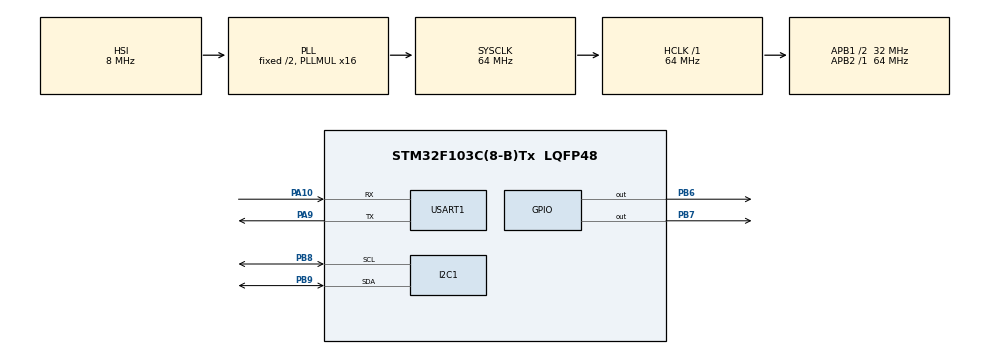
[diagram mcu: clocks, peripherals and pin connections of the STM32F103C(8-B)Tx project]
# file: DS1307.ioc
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Mcu.Family=STM32F1
Mcu.Name=STM32F103C(8-B)Tx
Mcu.Package=LQFP48
NVIC.PriorityGroup=NVIC_PRIORITYGROUP_4
PA10.Mode=Asynchronous
PA10.Signal=USART1_RX
PA13.Mode=Serial_Wire
PA13.Signal=SYS_JTMS-SWDIO
PA14.Mode=Serial_Wire
PA14.Signal=SYS_JTCK-SWCLK
PA9.Mode=Asynchronous
PA9.Signal=USART1_TX
PB6.Signal=GPIO_Output
PB7.Signal=GPIO_Output
PB8.Mode=I2C
PB8.Signal=I2C1_SCL
PB9.Mode=I2C
PB9.Signal=I2C1_SDA
ProjectManager.HeapSize=0x200
ProjectManager.StackSize=0x400
ProjectManager.TargetToolchain=MDK-ARM V5.32
RCC.AHBFreq_Value=64000000
RCC.APB1CLKDivider=RCC_HCLK_DIV2
RCC.APB1Freq_Value=32000000
RCC.APB1TimFreq_Value=64000000
RCC.APB2Freq_Value=64000000
RCC.APB2TimFreq_Value=64000000
RCC.HCLKFreq_Value=64000000
RCC.PLLMUL=RCC_PLL_MUL16
RCC.SYSCLKFreq_VALUE=64000000
RCC.SYSCLKSource=RCC_SYSCLKSOURCE_PLLCLK
RCC.USBFreq_Value=64000000
USART1.VirtualMode=VM_ASYNC
board=custom

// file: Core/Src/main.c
/* USER CODE BEGIN Header */
/**
  ******************************************************************************
  * @file           : main.c
  * @brief          : Main program body
  ******************************************************************************
  * @attention
  *
  * <h2><center>&copy; Copyright (c) 2022 STMicroelectronics.
  * All rights reserved.</center></h2>
  *
  * This software component is licensed by ST under BSD 3-Clause license,
  * the "License"; You may not use this file except in compliance with the
  * License. You may obtain a copy of the License at:
  *                        opensource.org/licenses/BSD-3-Clause
  *
  ******************************************************************************
  */
/* USER CODE END Header */
#include "main.h"

/* USER CODE BEGIN PTD */
#define DS1307_I2C_ADDR 0x68
#define DS1307_REG_SECOND 0x00
#define DS1307_REG_MINUTE 0x01
#define DS1307_REG_HOUR 0x02
#define DS1307_REG_DOW 0x03
#define DS1307_REG_DATE 0x04
#define DS1307_REG_MONTH 0x05
#define DS1307_REG_YEAR 0x06
#define DS1307_REG_CONTROL 0x07
#define DS1307_REG_UTC_HR 0x08
#define DS1307_REG_UTC_MIN 0x09
#define DS1307_REG_CENT 0x10
#define DS1307_TIMEOUT 1000
typedef struct {
    uint8_t sec;
    uint8_t min;
    uint8_t hour;
    uint8_t dow;
    uint8_t date;
    uint8_t month;
    uint16_t year;
}DS1307_STRUCT;
DS1307_STRUCT ds1307;
/* USER CODE END PTD */

I2C_HandleTypeDef hi2c1;

UART_HandleTypeDef huart1;

void SystemClock_Config(void);
static void MX_GPIO_Init(void);
static void MX_I2C1_Init(void);
static void MX_USART1_UART_Init(void);
/* USER CODE BEGIN PFP */
uint8_t DS1307_DecodeBCD(uint8_t bin);
uint8_t DS1307_EncodeBCD(uint8_t dec);
void DS1307_SetClockHalt(uint8_t halt);
void DS1307_SetRegByte(uint8_t regAddr, uint8_t val);
void DS1307_SetTimeZone(int8_t hr, uint8_t min);
uint8_t DS1307_GetClockHalt(void);
uint8_t DS1307_GetRegByte(uint8_t regAddr);
void DS1307_config();
void DS1307_gettime();
void DS1307_settime(uint8_t sec,uint8_t min,uint8_t hour_24mode,uint8_t dayOfWeek,uint8_t date,uint8_t month, uint16_t year);
/* USER CODE END PFP */

int main(void)
{

  /* MCU Configuration--------------------------------------------------------*/

  /* Reset of all peripherals, Initializes the Flash interface and the Systick. */
  HAL_Init();

  /* Configure the system clock */
  SystemClock_Config();

  /* Initialize all configured peripherals */
  MX_GPIO_Init();
  MX_I2C1_Init();
  MX_USART1_UART_Init();
  /* USER CODE BEGIN 2 */
  DS1307_config();
  DS1307_settime(10,50,8,3,19,7,22);
  /* USER CODE END 2 */

  /* Infinite loop */
  /* USER CODE BEGIN WHILE */
  while (1)
  {
	  DS1307_gettime();
	  HAL_GPIO_TogglePin(GPIOB,GPIO_PIN_7);
//	  HAL_UART_Transmit(&huart1,&ds1307.sec,sizeof(ds1307.sec),100);
      HAL_Delay(1000);
    /* USER CODE END WHILE */

  }
}

void SystemClock_Config(void)
{
  RCC_OscInitTypeDef RCC_OscInitStruct = {0};
  RCC_ClkInitTypeDef RCC_ClkInitStruct = {0};

  /** Initializes the RCC Oscillators according to the specified parameters
  * in the RCC_OscInitTypeDef structure.
  */
  RCC_OscInitStruct.OscillatorType = RCC_OSCILLATORTYPE_HSI;
  RCC_OscInitStruct.HSIState = RCC_HSI_ON;
  RCC_OscInitStruct.HSICalibrationValue = RCC_HSICALIBRATION_DEFAULT;
  RCC_OscInitStruct.PLL.PLLState = RCC_PLL_ON;
  RCC_OscInitStruct.PLL.PLLSource = RCC_PLLSOURCE_HSI_DIV2;
  RCC_OscInitStruct.PLL.PLLMUL = RCC_PLL_MUL16;
  if (HAL_RCC_OscConfig(&RCC_OscInitStruct) != HAL_OK)
  {
    Error_Handler();
  }
  /** Initializes the CPU, AHB and APB buses clocks
  */
  RCC_ClkInitStruct.ClockType = RCC_CLOCKTYPE_HCLK|RCC_CLOCKTYPE_SYSCLK
                              |RCC_CLOCKTYPE_PCLK1|RCC_CLOCKTYPE_PCLK2;
  RCC_ClkInitStruct.SYSCLKSource = RCC_SYSCLKSOURCE_PLLCLK;
  RCC_ClkInitStruct.AHBCLKDivider = RCC_SYSCLK_DIV1;
  RCC_ClkInitStruct.APB1CLKDivider = RCC_HCLK_DIV2;
  RCC_ClkInitStruct.APB2CLKDivider = RCC_HCLK_DIV1;

  if (HAL_RCC_ClockConfig(&RCC_ClkInitStruct, FLASH_LATENCY_2) != HAL_OK)
  {
    Error_Handler();
  }
}

static void MX_I2C1_Init(void)
{

  hi2c1.Instance = I2C1;
  hi2c1.Init.ClockSpeed = 100000;
  hi2c1.Init.DutyCycle = I2C_DUTYCYCLE_2;
  hi2c1.Init.OwnAddress1 = 0;
  hi2c1.Init.AddressingMode = I2C_ADDRESSINGMODE_7BIT;
  hi2c1.Init.DualAddressMode = I2C_DUALADDRESS_DISABLE;
  hi2c1.Init.OwnAddress2 = 0;
  hi2c1.Init.GeneralCallMode = I2C_GENERALCALL_DISABLE;
  hi2c1.Init.NoStretchMode = I2C_NOSTRETCH_DISABLE;
  if (HAL_I2C_Init(&hi2c1) != HAL_OK)
  {
    Error_Handler();
  }

}

static void MX_USART1_UART_Init(void)
{

  huart1.Instance = USART1;
  huart1.Init.BaudRate = 115200;
  huart1.Init.WordLength = UART_WORDLENGTH_8B;
  huart1.Init.StopBits = UART_STOPBITS_1;
  huart1.Init.Parity = UART_PARITY_NONE;
  huart1.Init.Mode = UART_MODE_TX_RX;
  huart1.Init.HwFlowCtl = UART_HWCONTROL_NONE;
  huart1.Init.OverSampling = UART_OVERSAMPLING_16;
  if (HAL_UART_Init(&huart1) != HAL_OK)
  {
    Error_Handler();
  }

}

static void MX_GPIO_Init(void)
{
  GPIO_InitTypeDef GPIO_InitStruct = {0};

  /* GPIO Ports Clock Enable */
  __HAL_RCC_GPIOA_CLK_ENABLE();
  __HAL_RCC_GPIOB_CLK_ENABLE();

  /*Configure GPIO pin Output Level */
  HAL_GPIO_WritePin(GPIOB, GPIO_PIN_6|GPIO_PIN_7, GPIO_PIN_RESET);

  /*Configure GPIO pins : PB6 PB7 */
  GPIO_InitStruct.Pin = GPIO_PIN_6|GPIO_PIN_7;
  GPIO_InitStruct.Mode = GPIO_MODE_OUTPUT_PP;
  GPIO_InitStruct.Pull = GPIO_NOPULL;
  GPIO_InitStruct.Speed = GPIO_SPEED_FREQ_LOW;
  HAL_GPIO_Init(GPIOB, &GPIO_InitStruct);

}

/* USER CODE BEGIN 4 */
void DS1307_gettime(){
    uint16_t cen;
    ds1307.sec=DS1307_DecodeBCD(DS1307_GetRegByte(DS1307_REG_SECOND) & 0x7f);
    ds1307.min=DS1307_DecodeBCD(DS1307_GetRegByte(DS1307_REG_MINUTE));
    ds1307.hour=DS1307_DecodeBCD(DS1307_GetRegByte(DS1307_REG_HOUR) & 0x3f);
    ds1307.dow=DS1307_DecodeBCD(DS1307_GetRegByte(DS1307_REG_DOW));
    ds1307.date=DS1307_DecodeBCD(DS1307_GetRegByte(DS1307_REG_DATE));
    ds1307.month=DS1307_DecodeBCD(DS1307_GetRegByte(DS1307_REG_MONTH));
    cen = DS1307_GetRegByte(DS1307_REG_CENT) * 100;
    ds1307.year=DS1307_DecodeBCD(DS1307_GetRegByte(DS1307_REG_YEAR)) + cen;
}
void DS1307_SetRegByte(uint8_t regAddr, uint8_t val) {
    uint8_t bytes[2] = { regAddr, val };
    HAL_I2C_Master_Transmit(&hi2c1, DS1307_I2C_ADDR << 1, bytes, 2, DS1307_TIMEOUT);
}
uint8_t DS1307_GetClockHalt(void) {
    return (DS1307_GetRegByte(DS1307_REG_SECOND) & 0x80) >> 7;
}
void DS1307_settime(uint8_t sec,uint8_t min,uint8_t hour_24mode,uint8_t dayOfWeek,uint8_t date,uint8_t month, uint16_t year){
    DS1307_SetRegByte(DS1307_REG_SECOND, DS1307_EncodeBCD(sec | DS1307_GetClockHalt()));
    DS1307_SetRegByte(DS1307_REG_MINUTE, DS1307_EncodeBCD(min));
    DS1307_SetRegByte(DS1307_REG_HOUR, DS1307_EncodeBCD(hour_24mode & 0x3f));//hour_24mode Hour in 24h format, 0 to 23.
    DS1307_SetRegByte(DS1307_REG_DOW, DS1307_EncodeBCD(dayOfWeek));//dayOfWeek Days since last Sunday, 0 to 6.
    DS1307_SetRegByte(DS1307_REG_DATE, DS1307_EncodeBCD(date));//date Day of month, 1 to 31.
    DS1307_SetRegByte(DS1307_REG_MONTH, DS1307_EncodeBCD(month));//month Month, 1 to 12.
    DS1307_SetRegByte(DS1307_REG_CENT, year / 100);
    DS1307_SetRegByte(DS1307_REG_YEAR, DS1307_EncodeBCD(year % 100));//2000 to 2099.
}
uint8_t DS1307_GetRegByte(uint8_t regAddr) {
    uint8_t val;
    HAL_I2C_Master_Transmit(&hi2c1, DS1307_I2C_ADDR << 1, &regAddr, 1, DS1307_TIMEOUT);
    HAL_I2C_Master_Receive(&hi2c1, DS1307_I2C_ADDR << 1, &val, 1, DS1307_TIMEOUT);
    return val;
}
void DS1307_SetClockHalt(uint8_t halt) {
    uint8_t ch = (halt ? 1 << 7 : 0);
    DS1307_SetRegByte(DS1307_REG_SECOND, ch | (DS1307_GetRegByte(DS1307_REG_SECOND) & 0x7f));
}
/**
 * @brief Sets UTC offset.
 * @note  UTC offset is not updated automatically.
 * @param hr UTC hour offset, -12 to 12.
 * @param min UTC minute offset, 0 to 59.
 */
void DS1307_SetTimeZone(int8_t hr, uint8_t min) {
    DS1307_SetRegByte(DS1307_REG_UTC_HR, hr);
    DS1307_SetRegByte(DS1307_REG_UTC_MIN, min);
}
void DS1307_config(){
    DS1307_SetClockHalt(0);
    DS1307_SetTimeZone(+8, 00);
}
uint8_t DS1307_DecodeBCD(uint8_t bin) {
    return (((bin & 0xf0) >> 4) * 10) + (bin & 0x0f);
}
uint8_t DS1307_EncodeBCD(uint8_t dec) {
    return (dec % 10 + ((dec / 10) << 4));
}
/* USER CODE END 4 */

void Error_Handler(void)
{
  __disable_irq();
  while (1)
  {
  }
}

/************************ (C) COPYRIGHT STMicroelectronics *****END OF FILE****/
